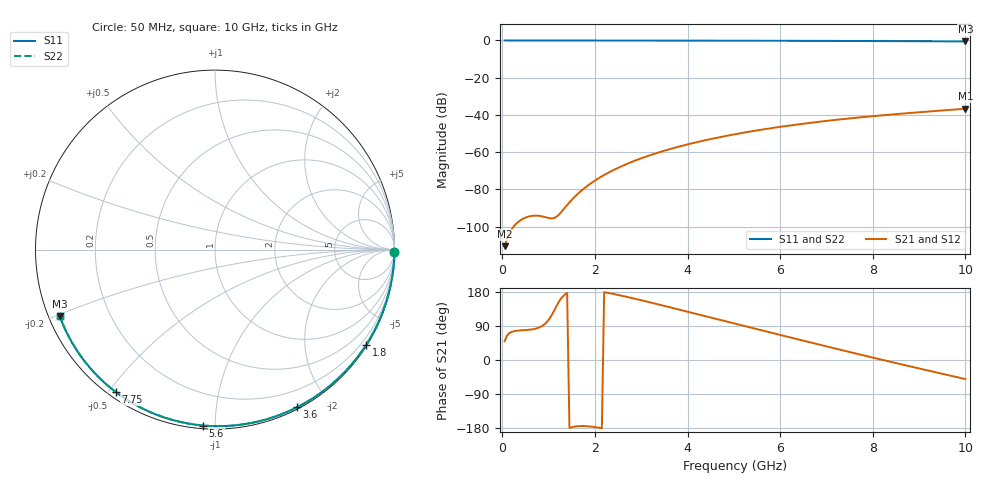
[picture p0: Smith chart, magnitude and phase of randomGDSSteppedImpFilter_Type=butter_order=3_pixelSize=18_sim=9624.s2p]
! freq	dB(S11)	phase(S11)	dB(S12)	phase(S12)
!  dB(S21)	phase(S21)	dB(S22)	phase(S22)
!S-par simulation data
#  GHz  S  DB  R 50
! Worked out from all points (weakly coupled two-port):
!   200 points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, 50 MHz to 10 GHz, reference 50 ohm
!   highest |S21| = -36.69 dB at 10 GHz (marker M1); lowest = -110.5 dB at 50 MHz (marker M2)
!   lowest |S11| = -0.5 dB at 10 GHz (marker M3), VSWR 33.02, Z = 1.58 - j10.3 ohm
!   |S11| at or under -10 dB: nowhere
!   |S22| runs from -0.5 to 0.0 dB; largest |S21 - S12| = 0
!   S11 on the Smith chart (normalised r, x): 50 MHz: open; 1.8 GHz: 0.03, -3.47; 3.6 GHz: 0.02, -1.65; 5.6 GHz: 0.02, -0.94; 7.75 GHz: 0.02, -0.52; 10 GHz: 0.03, -0.21
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0.05  -0.00 -0.9  -110.53 49.2  -110.53 49.2  -0.00 -0.9
0.45  -0.01 -8.2  -95.75 78.6  -95.75 78.6  -0.01 -8.2
0.85  -0.02 -15.4  -94.46 89.0  -94.46 89.0  -0.02 -15.4
1.3  -0.03 -23.4  -91.43 166.8  -91.43 166.8  -0.03 -23.4
1.75  -0.04 -31.3  -79.83 -174.3  -79.83 -174.3  -0.04 -31.3
1.8  -0.04 -32.1  -78.84 -174.5  -78.84 -174.5  -0.04 -32.1
1.95  -0.04 -34.7  -76.13 -176.2  -76.13 -176.2  -0.04 -34.7
2.1  -0.05 -37.3  -73.73 -178.9  -73.73 -178.9  -0.05 -37.3
2.3  -0.05 -40.8  -70.92 176.7  -70.92 176.7  -0.05 -40.8
2.5  -0.06 -44.2  -68.45 171.7  -68.45 171.7  -0.06 -44.2
2.9  -0.07 -51.0  -64.24 160.6  -64.24 160.6  -0.07 -51.0
3.4  -0.08 -59.3  -59.98 145.8  -59.98 145.8  -0.08 -59.3
3.6  -0.08 -62.6  -58.50 139.7  -58.50 139.7  -0.08 -62.6
4.3  -0.11 -73.8  -54.06 118.2  -54.06 118.2  -0.11 -73.8
5.05  -0.13 -85.5  -50.27 95.2  -50.27 95.2  -0.13 -85.5
5.6  -0.16 -93.8  -47.93 78.3  -47.93 78.3  -0.16 -93.8
6.15  -0.18 -102.0  -45.89 61.6  -45.89 61.6  -0.18 -102.0
6.7  -0.22 -110.0  -44.10 44.9  -44.10 44.9  -0.22 -110.0
7.75  -0.29 -124.9  -41.26 13.7  -41.26 13.7  -0.29 -124.9
8.35  -0.34 -133.4  -39.90 -3.8  -39.90 -3.8  -0.34 -133.4
9.2  -0.43 -145.3  -38.19 -27.9  -38.19 -27.9  -0.43 -145.3
10  -0.53 -156.7  -36.69 -50.4  -36.69 -50.4  -0.53 -156.7
